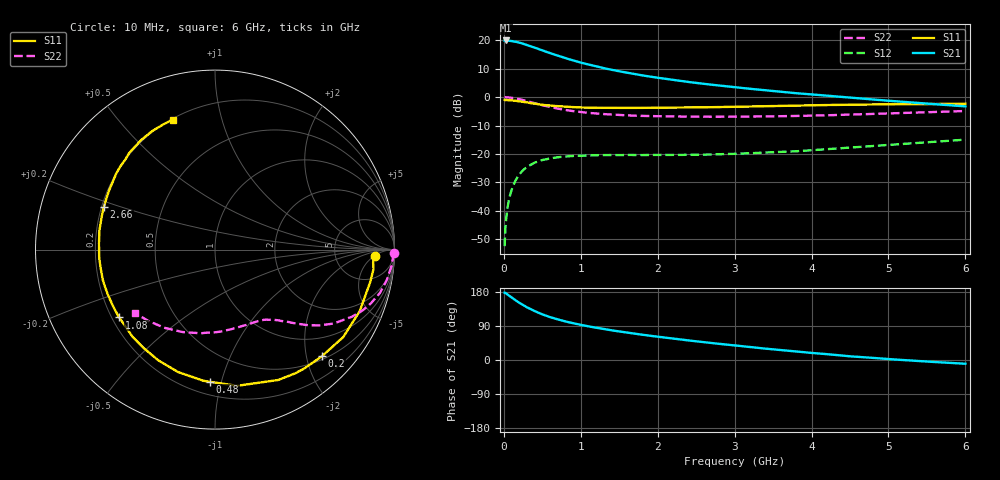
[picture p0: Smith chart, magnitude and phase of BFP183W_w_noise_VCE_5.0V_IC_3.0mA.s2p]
! Infineon Technologies  Discrete & RF Semiconductors
! BFP183W
! VCE = 5.0 V,  IC =  3.0 mA
! Common Emitter S-Parameters:  Jan 2016
# GHz  S  MA  R  50
!  f  S11  S21  S12  S22
! GHz  MAG  ANG  MAG  ANG  MAG  ANG  MAG  ANG
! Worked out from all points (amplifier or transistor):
!   210 points, 10 MHz to 6 GHz, reference 50 ohm
!   highest |S21| = 19.9 dB at 30 MHz (marker M1)
!   |S21| within 3 dB of that: start of sweep to 449 MHz
!   unconditionally stable (mu >= 1): 2.155 GHz to 5.919 GHz
!   at 185 MHz: K = 0.11, MSG = 23.5 dB, |S12| = -27.8 dB
!   at 1.52 GHz: K = 0.74, MSG = 14.7 dB, |S12| = -20.4 dB
!   at 6 GHz: K = 0.99, MSG = 5.8 dB, |S12| = -15.0 dB
!   lowest NFmin = 1.10 dB at 450 MHz
!   S11 on the Smith chart (normalised r, x): 10 MHz: 15, -5; 200 MHz: 0.56, -2.30; 480 MHz: 0.29, -0.92; 1.08 GHz: 0.23, -0.30; 2.66 GHz: 0.21, +0.18; 6 GHz: 0.20, +0.71
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0.01  0.8904 -2.4  9.828 177.7  0.0024 88.8  0.9957 -1.1
0.02  0.8839 -4.7  9.863 177.1  0.0049 83.0  0.9921 -2.1
0.03  0.89 -7.0  9.882 175.7  0.0071 87.9  0.9917 -3.1
0.055  0.8814 -12.8  9.81 171.8  0.0131 82.9  0.9865 -5.6
0.1  0.8763 -23.0  9.672 165.2  0.0231 77.6  0.9725 -10.0
0.15  0.8649 -34.3  9.43 157.9  0.0339 70.9  0.9497 -14.8
0.2  0.8414 -45.0  9.058 151.1  0.0435 65.6  0.919 -19.0
0.3  0.8074 -64.1  8.218 139.1  0.0591 55.9  0.8487 -26.2
0.4  0.7688 -80.8  7.403 129.0  0.0704 47.7  0.7808 -31.8
0.48  0.7371 -92.1  6.758 122.2  0.0767 43.0  0.7314 -35.0
0.6  0.7125 -106.8  5.928 113.2  0.0837 36.8  0.6682 -39.1
0.7  0.6931 -117.1  5.353 107.1  0.0877 33.4  0.6273 -41.4
0.82  0.6747 -127.3  4.741 100.7  0.0908 29.8  0.5881 -43.8
1.02  0.6557 -141.2  3.967 91.9  0.0937 25.4  0.5419 -47.2
1.08  0.6536 -144.7  3.791 89.5  0.0944 24.5  0.5313 -47.9
1.42  0.6469 -161.8  2.983 77.7  0.0958 20.9  0.4916 -52.7
2.02  0.6476 176.2  2.167 61.0  0.096 20.4  0.4607 -61.3
2.66  0.6633 159.1  1.672 45.7  0.0979 23.7  0.4514 -72.2
3.1  0.6788 148.8  1.442 36.4  0.1018 26.7  0.4531 -80.5
4.1  0.7221 130.1  1.086 17.1  0.1188 33.0  0.4753 -102.1
5.1  0.7488 116.6  0.842 1.1  0.1468 35.5  0.5217 -124.7
6  0.7617 108.1  0.687 -9.9  0.1787 34.6  0.569 -141.5
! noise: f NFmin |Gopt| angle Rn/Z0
0.45  1.1  0.37  35  0.3
0.9  1.15  0.34  85  0.23
1.8  1.9  0.35  160  0.13
